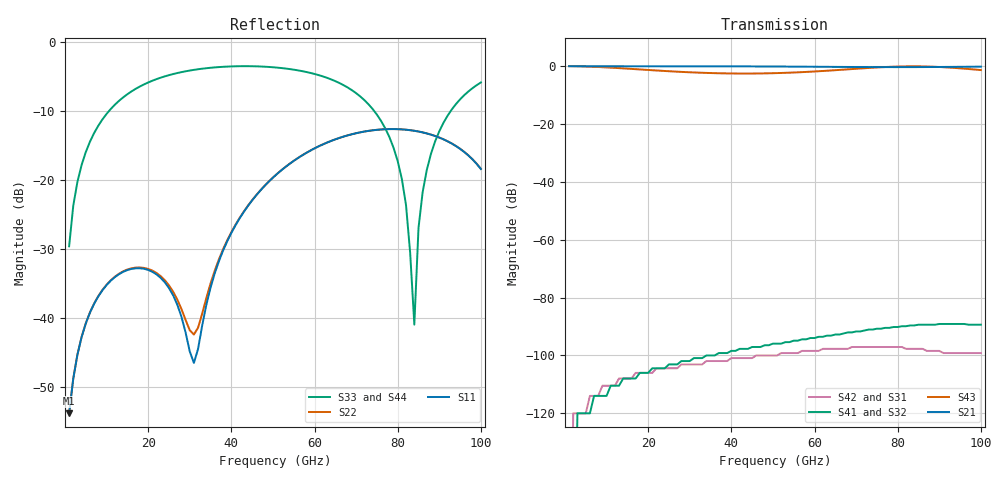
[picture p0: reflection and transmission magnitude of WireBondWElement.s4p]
! File created by SignalIntegrity v1.1.14: Signal and Power Integrity Tools
! https://github.com/TeledyneLeCroy/SignalIntegrity
# MHz S MA R 50.0
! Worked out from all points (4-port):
!   100 points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, 1 GHz to 100 GHz, reference 50 ohm
!   strongest paths, dB at 1 GHz, 26 GHz, 51 GHz, 76 GHz, 100 GHz:
!     S21: 0.0, -0.1, -0.1, -0.3, -0.2
!     S43: 0.0, -1.8, -2.4, -0.4, -1.4
!     S41: -, -103.1, -95.9, -90.8, -89.4
!     S32: -, -103.1, -95.9, -90.8, -89.4
!     S42: -, -104.4, -100.0, -97.1, -99.2
!     S31: -, -104.4, -100.0, -97.1, -99.2
!   lowest |S11| = -53.8 dB at 1 GHz (marker M1), VSWR 1.00, Z = 50.2 - j0.116 ohm
!   |S11| at or under -10 dB: start of sweep to end of sweep
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1000  0.002043 -34.6  0.9983 -2.6  0 -92.2  0 -91.8
      0.9983 -2.6  0.002046 -34.5  0 -91.8  0 -92.2
      0 -92.2  0 -91.8  0.03299 83.7  0.9977 -3.3
      0 -91.8  0 -92.2  0.9977 -3.3  0.03299 83.7
15000  0.0222 -115.9  0.9944 -38.1  4e-06 -121.5  4e-06 -119.7
       0.9944 -38.1  0.02241 -113.8  4e-06 -119.7  4e-06 -121.3
       4e-06 -121.5  4e-06 -119.7  0.4156 43.2  0.9051 -46.3
       4e-06 -119.7  4e-06 -121.3  0.9051 -46.3  0.4156 43.1
58000  0.1562 -57.8  0.9777 -147.1  1.2e-05 168.4  1.9e-05 136.1
       0.9777 -147.1  0.1563 -59.2  1.9e-05 136.0  1.2e-05 168.0
       1.2e-05 168.4  1.9e-05 136.0  0.6022 -52.0  0.794 -142.2
       1.9e-05 136.1  1.2e-05 168.0  0.794 -142.2  0.6022 -52.3
78000  0.2325 -106.6  0.9614 163.2  1.4e-05 102.7  3e-05 78.3
       0.9614 163.2  0.2326 -106.5  3e-05 78.1  1.4e-05 101.9
       1.4e-05 102.7  3e-05 78.1  0.2036 -105.4  0.9719 163.3
       3e-05 78.3  1.4e-05 101.9  0.9719 163.3  0.2037 -105.3
84000  0.226 -121.2  0.9623 148.5  1.3e-05 72.5  3.3e-05 58.1
       0.9623 148.5  0.2262 -120.6  3.3e-05 58.0  1.3e-05 71.4
       1.3e-05 72.5  3.3e-05 58.0  0.008956 21.0  0.992 143.1
       3.3e-05 58.1  1.3e-05 71.4  0.992 143.1  0.01029 10.2
88000  0.212 -130.9  0.965 138.6  1.2e-05 49.3  3.4e-05 44.6
       0.965 138.6  0.2121 -129.9  3.4e-05 44.4  1.2e-05 48.0
       1.2e-05 49.3  3.4e-05 44.4  0.154 37.8  0.9798 129.5
       3.4e-05 44.6  1.2e-05 48.0  0.9798 129.5  0.1541 36.5
100000  0.1196 -160.5  0.979 108.3  1.1e-05 -29.5  3.4e-05 7.3
        0.979 108.3  0.1201 -156.8  3.4e-05 7.2  1.1e-05 -31.4
        1.1e-05 -29.5  3.4e-05 7.2  0.5055 2.1  0.8547 92.3
        3.4e-05 7.3  1.1e-05 -31.4  0.8547 92.3  0.5056 1.3
